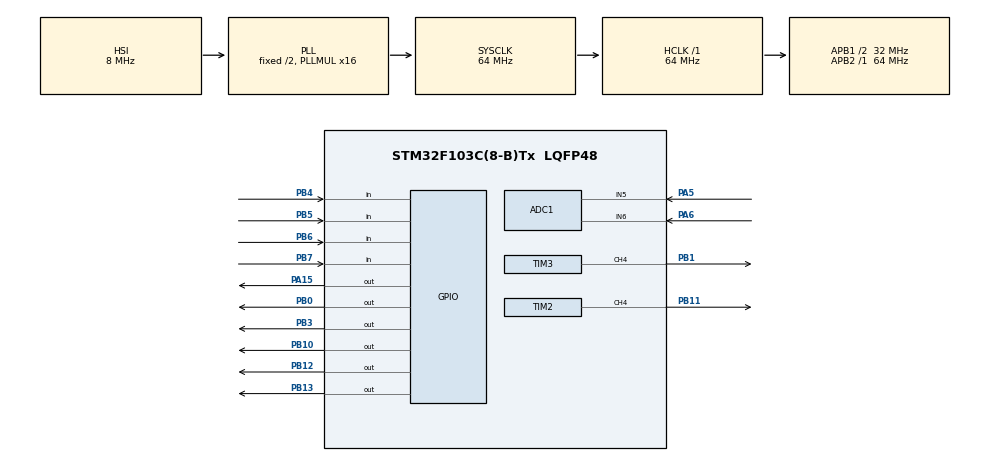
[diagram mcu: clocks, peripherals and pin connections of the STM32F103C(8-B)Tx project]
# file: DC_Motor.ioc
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ADC1.Channel-3\#ChannelRegularConversion=ADC_CHANNEL_5
ADC1.NbrOfConversionFlag=1
ADC1.Rank-3\#ChannelRegularConversion=1
ADC1.SamplingTime-3\#ChannelRegularConversion=ADC_SAMPLETIME_1CYCLE_5
ADC1.master=1
Mcu.Family=STM32F1
Mcu.Name=STM32F103C(8-B)Tx
Mcu.Package=LQFP48
NVIC.PriorityGroup=NVIC_PRIORITYGROUP_4
PA13.Mode=Serial_Wire
PA13.Signal=SYS_JTMS-SWDIO
PA14.Mode=Serial_Wire
PA14.Signal=SYS_JTCK-SWCLK
PA15.Signal=GPIO_Output
PA5.Signal=ADCx_IN5
PA6.Signal=ADCx_IN6
PB0.Signal=GPIO_Output
PB1.Signal=S_TIM3_CH4
PB10.Signal=GPIO_Output
PB11.Signal=S_TIM2_CH4
PB12.Signal=GPIO_Output
PB13.Signal=GPIO_Output
PB3.Signal=GPIO_Output
PB4.Signal=GPIO_Input
PB5.Signal=GPIO_Input
PB6.Signal=GPIO_Input
PB7.Signal=GPIO_Input
PD0-OSC_IN.Mode=HSE-External-Oscillator
PD0-OSC_IN.Signal=RCC_OSC_IN
PD1-OSC_OUT.Mode=HSE-External-Oscillator
PD1-OSC_OUT.Signal=RCC_OSC_OUT
ProjectManager.HeapSize=0x200
ProjectManager.StackSize=0x400
ProjectManager.TargetToolchain=MDK-ARM V5.32
RCC.ADCPresc=RCC_ADCPCLK2_DIV6
RCC.AHBFreq_Value=64000000
RCC.APB1CLKDivider=RCC_HCLK_DIV2
RCC.APB1Freq_Value=32000000
RCC.APB1TimFreq_Value=64000000
RCC.APB2Freq_Value=64000000
RCC.APB2TimFreq_Value=64000000
RCC.HCLKFreq_Value=64000000
RCC.HSE_VALUE=4000000
RCC.PLLMUL=RCC_PLL_MUL16
RCC.SYSCLKFreq_VALUE=64000000
RCC.SYSCLKSource=RCC_SYSCLKSOURCE_PLLCLK
RCC.USBFreq_Value=64000000
SH.ADCx_IN5.0=ADC1_IN5,IN5
SH.ADCx_IN6.0=ADC1_IN6,IN6
SH.S_TIM2_CH4.0=TIM2_CH4,PWM Generation4 CH4
SH.S_TIM3_CH4.0=TIM3_CH4,PWM Generation4 CH4
TIM2.Channel-PWM\ Generation4\ CH4=TIM_CHANNEL_4
TIM2.Period=2132
TIM2.Pulse-PWM\ Generation4\ CH4=1066
TIM3.Channel-PWM\ Generation4\ CH4=TIM_CHANNEL_4
TIM3.Period=2132
TIM3.Pulse-PWM\ Generation4\ CH4=213
VP_TIM2_VS_ClockSourceINT.Mode=Internal
VP_TIM3_VS_ClockSourceINT.Mode=Internal
board=custom

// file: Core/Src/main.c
/* USER CODE BEGIN Header */
/**
  ******************************************************************************
  * @file           : main.c
  * @brief          : Main program body
  ******************************************************************************
  * @attention
  *
  * Copyright (c) 2025 STMicroelectronics.
  * All rights reserved.
  *
  * This software is licensed under terms that can be found in the LICENSE file
  * in the root directory of this software component.
  * If no LICENSE file comes with this software, it is provided AS-IS.
  *
  ******************************************************************************
  */
/* USER CODE END Header */
#include "main.h"
#include "adc.h"
#include "tim.h"
#include "gpio.h"

/* USER CODE BEGIN PTD */

/* ?????? */
typedef enum
{
  MOTOR_STOPPED = 0,
  MOTOR_FORWARD,
  MOTOR_REVERSE
} MotorState_t;

/* ??????:A/B/C */
typedef enum
{
  SPEED_A = 0,   // 30%
  SPEED_B,       // 50%
  SPEED_C        // 70%
} SpeedLevel_t;

/* USER CODE END PTD */

/* USER CODE BEGIN PD */

/* ??:PB4~PB7,active low */
#define BUTTON_DIR_PIN       GPIO_PIN_4   // PB4: ????
#define BUTTON_SPEED_UP_PIN  GPIO_PIN_5   // PB5: ??(??)
#define BUTTON_SPEED_DN_PIN  GPIO_PIN_6   // PB6: ??(??)
#define BUTTON_STRT_STP_PIN  GPIO_PIN_7   // PB7: ??/??

/* LED(???3.3V,MCU????????) */
#define LED1_GPIO_Port       GPIOA
#define LED1_Pin             GPIO_PIN_15  // LED1: ????
#define LED2_GPIO_Port       GPIOB
#define LED2_Pin             GPIO_PIN_3   // LED2: ????

/* USER CODE END PD */

/* USER CODE BEGIN PV */

MotorState_t g_motorState = MOTOR_STOPPED;
SpeedLevel_t g_speedLevel = SPEED_B;  // ?? B ? 50%

uint32_t g_pwmMax   = 0;      // PWM ????(ARR)
uint32_t g_pwmValue = 0;      // ?? PWM ?????????

/* LED ????(?? HAL_GetTick() ?????) */
static uint32_t g_led1LastTick = 0;
static uint8_t  g_led1On       = 0;

static uint32_t g_led2LastTick = 0;
static uint8_t  g_led2On       = 0;

/* USER CODE END PV */

void SystemClock_Config(void);
/* USER CODE BEGIN PFP */
void Motor_UpdateSpeed(void);
void Motor_Forward(void);
void Motor_Reverse(void);
void Motor_Stop(void);
void Update_LEDs(void);
/* USER CODE END PFP */

int main(void)
{

  /* MCU Configuration--------------------------------------------------------*/
  HAL_Init();

  /* Configure the system clock */
  SystemClock_Config();

  /* Initialize all configured peripherals */
  MX_GPIO_Init();
  MX_ADC1_Init();
  MX_TIM2_Init();
  MX_TIM3_Init();

  /* USER CODE BEGIN 2 */

  /* ?? PWM ???(TIM2/TIM3 ? ARR) */
  g_pwmMax = __HAL_TIM_GET_AUTORELOAD(&htim2);
  if (g_pwmMax == 0) g_pwmMax = 2132;   // ??:?????0,????? 2132

  /* ?????? B(50%) ??????? */
  Motor_UpdateSpeed();

  /* ?????????,PB7 ???? */
  Motor_Stop();

  /* LED ????(??:?????,?????????) */
  HAL_GPIO_WritePin(LED1_GPIO_Port, LED1_Pin, GPIO_PIN_SET);
  HAL_GPIO_WritePin(LED2_GPIO_Port, LED2_Pin, GPIO_PIN_SET);

  /* USER CODE END 2 */

  /* Infinite loop */
  /* USER CODE BEGIN WHILE */
  while (1)
  {
    /* ???? active low(??=GPIO_PIN_RESET) */

    /* PB4: ????(????????????,????????,???????????) */
    if (HAL_GPIO_ReadPin(GPIOB, BUTTON_DIR_PIN) == GPIO_PIN_RESET)
    {
      if (g_motorState == MOTOR_FORWARD)
      {
        Motor_Reverse();
      }
      else if (g_motorState == MOTOR_REVERSE)
      {
        Motor_Forward();
      }
      /* ?????????,???????? */

      HAL_Delay(200);   // ????
    }

    /* PB5: ??(??:A -> B -> C,? C ????) */
    if (HAL_GPIO_ReadPin(GPIOB, BUTTON_SPEED_UP_PIN) == GPIO_PIN_RESET)
    {
      if (g_speedLevel < SPEED_C)
      {
        g_speedLevel++;
        Motor_UpdateSpeed();   // ?????
      }
      /* ??? C ??,????? */

      HAL_Delay(200);
    }

    /* PB6: ??(??:C -> B -> A,? A ????) */
    if (HAL_GPIO_ReadPin(GPIOB, BUTTON_SPEED_DN_PIN) == GPIO_PIN_RESET)
    {
      if (g_speedLevel > SPEED_A)
      {
        g_speedLevel--;
        Motor_UpdateSpeed();
      }
      /* ??? A ??,????? */

      HAL_Delay(200);
    }

    /* PB7: ??/?? */
    if (HAL_GPIO_ReadPin(GPIOB, BUTTON_STRT_STP_PIN) == GPIO_PIN_RESET)
    {
      if (g_motorState == MOTOR_STOPPED)
      {
        /* ??? -> ????? */
        Motor_Forward();
      }
      else
      {
        /* ??/?? -> ?? */
        Motor_Stop();
      }

      HAL_Delay(200);
    }

    /* LED ?????????????? */
    Update_LEDs();

    /* USER CODE END WHILE */

    /* USER CODE BEGIN 3 */
    /* ??????????? */
  }
  /* USER CODE END 3 */
}

void SystemClock_Config(void)
{
  RCC_OscInitTypeDef RCC_OscInitStruct = {0};
  RCC_ClkInitTypeDef RCC_ClkInitStruct = {0};
  RCC_PeriphCLKInitTypeDef PeriphClkInit = {0};

  /** Initializes the RCC Oscillators according to the specified parameters
  * in the RCC_OscInitTypeDef structure.
  */
  RCC_OscInitStruct.OscillatorType = RCC_OSCILLATORTYPE_HSI;
  RCC_OscInitStruct.HSIState = RCC_HSI_ON;
  RCC_OscInitStruct.HSICalibrationValue = RCC_HSICALIBRATION_DEFAULT;
  RCC_OscInitStruct.PLL.PLLState = RCC_PLL_ON;
  RCC_OscInitStruct.PLL.PLLSource = RCC_PLLSOURCE_HSI_DIV2;
  RCC_OscInitStruct.PLL.PLLMUL = RCC_PLL_MUL16;
  if (HAL_RCC_OscConfig(&RCC_OscInitStruct) != HAL_OK)
  {
    Error_Handler();
  }

  /** Initializes the CPU, AHB and APB buses clocks
  */
  RCC_ClkInitStruct.ClockType = RCC_CLOCKTYPE_HCLK|RCC_CLOCKTYPE_SYSCLK
                              |RCC_CLOCKTYPE_PCLK1|RCC_CLOCKTYPE_PCLK2;
  RCC_ClkInitStruct.SYSCLKSource = RCC_SYSCLKSOURCE_PLLCLK;
  RCC_ClkInitStruct.AHBCLKDivider = RCC_SYSCLK_DIV1;
  RCC_ClkInitStruct.APB1CLKDivider = RCC_HCLK_DIV2;
  RCC_ClkInitStruct.APB2CLKDivider = RCC_HCLK_DIV1;

  if (HAL_RCC_ClockConfig(&RCC_ClkInitStruct, FLASH_LATENCY_2) != HAL_OK)
  {
    Error_Handler();
  }
  PeriphClkInit.PeriphClockSelection = RCC_PERIPHCLK_ADC;
  PeriphClkInit.AdcClockSelection = RCC_ADCPCLK2_DIV6;
  if (HAL_RCCEx_PeriphCLKConfig(&PeriphClkInit) != HAL_OK)
  {
    Error_Handler();
  }
}

/* USER CODE BEGIN 4 */

/* ???????????,???????? CCR */
void Motor_UpdateSpeed(void)
{
  /* ???????:A=30%,B=50%,C=70% */
  switch (g_speedLevel)
  {
    case SPEED_A:
      g_pwmValue = g_pwmMax * 3 / 10;  // 30%
      break;
    case SPEED_B:
      g_pwmValue = g_pwmMax * 5 / 10;  // 50%
      break;
    case SPEED_C:
      g_pwmValue = g_pwmMax * 7 / 10;  // 70%
      break;
    default:
      g_pwmValue = g_pwmMax * 5 / 10;
      break;
  }

  if (g_motorState == MOTOR_FORWARD)
  {
    __HAL_TIM_SET_COMPARE(&htim2, TIM_CHANNEL_4, g_pwmValue);  // TIM2_CH4 -> PB11
  }
  else if (g_motorState == MOTOR_REVERSE)
  {
    __HAL_TIM_SET_COMPARE(&htim3, TIM_CHANNEL_4, g_pwmValue);  // TIM3_CH4 -> PB1
  }
  /* ??????? CCR ????,???????? */
}

/* ??:TIM2_CH4 ?? PWM,PB10=?,PB0=? */
void Motor_Forward(void)
{
  /* ????? PWM,?? MOS,?????? */
  HAL_TIM_PWM_Stop(&htim2, TIM_CHANNEL_4);
  HAL_TIM_PWM_Stop(&htim3, TIM_CHANNEL_4);
  HAL_GPIO_WritePin(GPIOB, GPIO_PIN_0,  GPIO_PIN_RESET);
  HAL_GPIO_WritePin(GPIOB, GPIO_PIN_10, GPIO_PIN_RESET);
  HAL_Delay(1);   // ????

  /* ????:PB10 = 1, PB0 = 0 */
  HAL_GPIO_WritePin(GPIOB, GPIO_PIN_10, GPIO_PIN_SET);
  HAL_GPIO_WritePin(GPIOB, GPIO_PIN_0,  GPIO_PIN_RESET);

  /* ?? TIM2_CH4 PWM(PB11) */
  HAL_TIM_PWM_Start(&htim2, TIM_CHANNEL_4);

  g_motorState = MOTOR_FORWARD;
  Motor_UpdateSpeed();
}

/* ??:TIM3_CH4 ?? PWM,PB0=?,PB10=? */
void Motor_Reverse(void)
{
  HAL_TIM_PWM_Stop(&htim2, TIM_CHANNEL_4);
  HAL_TIM_PWM_Stop(&htim3, TIM_CHANNEL_4);
  HAL_GPIO_WritePin(GPIOB, GPIO_PIN_0,  GPIO_PIN_RESET);
  HAL_GPIO_WritePin(GPIOB, GPIO_PIN_10, GPIO_PIN_RESET);
  HAL_Delay(1);

  /* ????:PB0 = 1, PB10 = 0 */
  HAL_GPIO_WritePin(GPIOB, GPIO_PIN_0,  GPIO_PIN_SET);
  HAL_GPIO_WritePin(GPIOB, GPIO_PIN_10, GPIO_PIN_RESET);

  /* ?? TIM3_CH4 PWM(PB1) */
  HAL_TIM_PWM_Start(&htim3, TIM_CHANNEL_4);

  g_motorState = MOTOR_REVERSE;
  Motor_UpdateSpeed();
}

/* ??:?? PWM,??/??(?? H ???) */
void Motor_Stop(void)
{
  HAL_TIM_PWM_Stop(&htim2, TIM_CHANNEL_4);
  HAL_TIM_PWM_Stop(&htim3, TIM_CHANNEL_4);

  HAL_GPIO_WritePin(GPIOB, GPIO_PIN_0,  GPIO_PIN_SET);
  HAL_GPIO_WritePin(GPIOB, GPIO_PIN_10, GPIO_PIN_SET);

  g_motorState = MOTOR_STOPPED;
}

/* ??????????? LED ??
 * ??:LED ??? 3.3V,???????
 * A ?:?1s?1s
 * B ?:?0.5s?0.5s
 * C ?:??(???)
 */
void Update_LEDs(void)
{
  uint32_t now = HAL_GetTick();

  /* ????(???) */
  GPIO_PinState led1State = GPIO_PIN_SET;
  GPIO_PinState led2State = GPIO_PIN_SET;

  if (g_motorState == MOTOR_FORWARD)
  {
    /* ??,??? LED1,LED2 ??? */
    uint32_t interval_ms = 0;

    if (g_speedLevel == SPEED_A)
    {
      interval_ms = 1000; // 1s
    }
    else if (g_speedLevel == SPEED_B)
    {
      interval_ms = 500;  // 0.5s
    }
    else /* SPEED_C */
    {
      /* C ?:??,??? */
      g_led1On = 1;
    }

    if (g_speedLevel == SPEED_A || g_speedLevel == SPEED_B)
    {
      if (now - g_led1LastTick >= interval_ms)
      {
        g_led1LastTick = now;
        g_led1On = !g_led1On;
      }
    }

    led1State = (g_led1On ? GPIO_PIN_RESET : GPIO_PIN_SET); // ?????
    led2State = GPIO_PIN_SET; // ?? LED ??
  }
  else if (g_motorState == MOTOR_REVERSE)
  {
    /* ??,??? LED2,LED1 ??? */
    uint32_t interval_ms = 0;

    if (g_speedLevel == SPEED_A)
    {
      interval_ms = 1000; // 1s
    }
    else if (g_speedLevel == SPEED_B)
    {
      interval_ms = 500;  // 0.5s
    }
    else /* SPEED_C */
    {
      /* C ?:?? */
      g_led2On = 1;
    }

    if (g_speedLevel == SPEED_A || g_speedLevel == SPEED_B)
    {
      if (now - g_led2LastTick >= interval_ms)
      {
        g_led2LastTick = now;
        g_led2On = !g_led2On;
      }
    }

    led2State = (g_led2On ? GPIO_PIN_RESET : GPIO_PIN_SET);
    led1State = GPIO_PIN_SET; // ?? LED ??
  }
  else
  {
    /* ??:?? LED ??,?????? */
    g_led1On = 0;
    g_led2On = 0;
    g_led1LastTick = now;
    g_led2LastTick = now;

    led1State = GPIO_PIN_SET;
    led2State = GPIO_PIN_SET;
  }

  HAL_GPIO_WritePin(LED1_GPIO_Port, LED1_Pin, led1State);
  HAL_GPIO_WritePin(LED2_GPIO_Port, LED2_Pin, led2State);
}

/* USER CODE END 4 */

void Error_Handler(void)
{
  __disable_irq();
  while (1)
  {
  }
}
